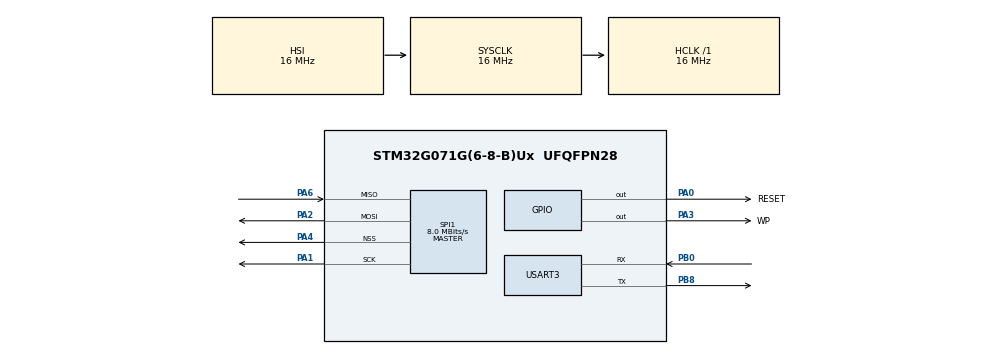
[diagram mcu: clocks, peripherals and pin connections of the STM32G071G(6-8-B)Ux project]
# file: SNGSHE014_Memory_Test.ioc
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Mcu.Family=STM32G0
Mcu.Name=STM32G071G(6-8-B)Ux
Mcu.Package=UFQFPN28
NVIC.SPI1_IRQn=true\:0\:0\:false\:false\:true\:true\:true
NVIC.USART3_4_LPUART1_IRQn=true\:0\:0\:false\:false\:true\:true\:true
PA0.GPIO_Label=RESET
PA0.Signal=GPIO_Output
PA1.Mode=Full_Duplex_Master
PA1.Signal=SPI1_SCK
PA2.Mode=Full_Duplex_Master
PA2.Signal=SPI1_MOSI
PA3.GPIO_Label=WP
PA3.Signal=GPIO_Output
PA4.Mode=NSS_Signal_Hard_Output
PA4.Signal=SPI1_NSS
PA6.Mode=Full_Duplex_Master
PA6.Signal=SPI1_MISO
PB0.Mode=Asynchronous
PB0.Signal=USART3_RX
PB8.Mode=Asynchronous
PB8.Signal=USART3_TX
ProjectManager.HeapSize=0x200
ProjectManager.StackSize=0x400
ProjectManager.TargetToolchain=STM32CubeIDE
RCC.AHBFreq_Value=16000000
RCC.CortexFreq_Value=16000000
RCC.EXTERNAL_CLOCK_VALUE=48000
RCC.HCLKFreq_Value=16000000
RCC.HSE_VALUE=8000000
RCC.HSI_VALUE=16000000
RCC.LSE_VALUE=32768
RCC.SYSCLKFreq_VALUE=16000000
RCC.VCOOutputFreq_Value=128000000
SPI1.CalculateBaudRate=8.0 MBits/s
SPI1.Direction=SPI_DIRECTION_2LINES
SPI1.Mode=SPI_MODE_MASTER
SPI1.VirtualNSS=VM_NSSHARD
SPI1.VirtualType=VM_MASTER
USART3.VirtualMode-Asynchronous=VM_ASYNC
VP_SYS_VS_DBSignals.Mode=DisableDeadBatterySignals
board=custom

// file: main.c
/* USER CODE BEGIN Header */
/**
  ******************************************************************************
  * @file           : main.c
  * @brief          : Main program body
  ******************************************************************************
  * @attention
  *
  * <h2><center>&copy; Copyright (c) 2020 STMicroelectronics.
  * All rights reserved.</center></h2>
  *
  * This software component is licensed by ST under BSD 3-Clause license,
  * the "License"; You may not use this file except in compliance with the
  * License. You may obtain a copy of the License at:
  *                        opensource.org/licenses/BSD-3-Clause
  *
  ******************************************************************************
  */
/* USER CODE END Header */
#include "main.h"

/* USER CODE BEGIN Includes */
#include "test.h"
#include <stdio.h>
#include <string.h>
/* USER CODE END Includes */

SPI_HandleTypeDef hspi1;

UART_HandleTypeDef huart3;

/* USER CODE BEGIN PV */
char uart_buf[100];
int uart_buf_len;
/* USER CODE END PV */

void SystemClock_Config(void);
static void MX_GPIO_Init(void);
static void MX_SPI1_Init(void);
static void MX_USART3_UART_Init(void);

/* USER CODE BEGIN 0 */
void UART_print(void)
{
	uart_buf_len = sizeof(uart_buf);
	HAL_UART_Transmit(&huart3, (uint8_t *)uart_buf, uart_buf_len, 10000);		//UART write
}
/* USER CODE END 0 */

int main(void)
{
  /* USER CODE BEGIN 1 */
	uint32_t defaultTest(){return dataflashTest();};

	uint32_t dataflashTest()
	{
		// dataWrite is used when sending data that will be flashed to the device.
		uint8_t dataWrite[MAXIMUM_BUFFER_SIZE] = {0};
		// dataRead is used as a buffer for received data. Read data will be stored here.
		uint8_t dataRead[MAXIMUM_BUFFER_SIZE] = {0};
		// dataTest is used as a buffer for comparisons. dataRead will be

		// Count the number of errors, this is output at the end of the testbench.
		uint32_t errorCount = 0;

		// Load up dataWrite with a pattern that will be used for testing.
		fillArrayPattern(dataWrite, 100, 0x00);

		/********************************************************************
		 *		    		1. TEST						*
		 ********************************************************************/

		//write to main memory and read function
		//uart print = success

		// Test buffer 1:
		// Part B: Test that data can be written to main memory.
		// Data will be programmed to the device through the buffer, and then read back with different
		// read commands. Each read command will be tested, and success/failure messages output to the
		// console.
		//WRITE:
		fillArrayPattern(dataWrite, 100, 0x45);
		dataflashMemoryProgramThruBuffer1WithErase(0, dataWrite, 100);
		uart_buf[100] = *txDataflashInternalBuffer;
		UART_print();
		uart_buf[100] = *dataWrite;
		UART_print();

//		dataflashWaitOnReady();

		//READ:
		dataflashArrayReadLowFreq(0, dataRead, 100);
		uart_buf[100] = *txDataflashInternalBuffer;
		UART_print();
		if(!compareByteArrays(dataRead, dataWrite, 100))
		{
			uart_buf_len = sprintf(uart_buf, "Fail.\n");
			HAL_UART_Transmit(&huart3, (uint8_t *)uart_buf, uart_buf_len, 10000);		//UART write
//			UART_print();
//			printf("Program through Buffer 1 failure.\n");
			errorCount++;
		}
		else
		{
			uart_buf_len = sprintf(uart_buf, "Success.\n");
			HAL_UART_Transmit(&huart3, (uint8_t *)uart_buf, uart_buf_len, 10000);		//UART write
//			UART_print();
//			printf("Program through Buffer 1 success.\n");
		}
		return 0;
	}

  /* USER CODE END 1 */

  /* MCU Configuration--------------------------------------------------------*/

  /* Reset of all peripherals, Initializes the Flash interface and the Systick. */
  HAL_Init();

  /* Configure the system clock */
  SystemClock_Config();

  /* Initialize all configured peripherals */
  MX_GPIO_Init();
  MX_SPI1_Init();
  MX_USART3_UART_Init();

  /* Infinite loop */
  while (1)
  {

  }
}

void SystemClock_Config(void)
{
  RCC_OscInitTypeDef RCC_OscInitStruct = {0};
  RCC_ClkInitTypeDef RCC_ClkInitStruct = {0};

  /** Configure the main internal regulator output voltage
  */
  HAL_PWREx_ControlVoltageScaling(PWR_REGULATOR_VOLTAGE_SCALE1);
  /** Initializes the RCC Oscillators according to the specified parameters
  * in the RCC_OscInitTypeDef structure.
  */
  RCC_OscInitStruct.OscillatorType = RCC_OSCILLATORTYPE_HSI;
  RCC_OscInitStruct.HSIState = RCC_HSI_ON;
  RCC_OscInitStruct.HSIDiv = RCC_HSI_DIV1;
  RCC_OscInitStruct.HSICalibrationValue = RCC_HSICALIBRATION_DEFAULT;
  RCC_OscInitStruct.PLL.PLLState = RCC_PLL_NONE;
  if (HAL_RCC_OscConfig(&RCC_OscInitStruct) != HAL_OK)
  {
    Error_Handler();
  }
  /** Initializes the CPU, AHB and APB buses clocks
  */
  RCC_ClkInitStruct.ClockType = RCC_CLOCKTYPE_HCLK|RCC_CLOCKTYPE_SYSCLK
                              |RCC_CLOCKTYPE_PCLK1;
  RCC_ClkInitStruct.SYSCLKSource = RCC_SYSCLKSOURCE_HSI;
  RCC_ClkInitStruct.AHBCLKDivider = RCC_SYSCLK_DIV1;
  RCC_ClkInitStruct.APB1CLKDivider = RCC_HCLK_DIV1;

  if (HAL_RCC_ClockConfig(&RCC_ClkInitStruct, FLASH_LATENCY_0) != HAL_OK)
  {
    Error_Handler();
  }
}

static void MX_SPI1_Init(void)
{

  /* SPI1 parameter configuration*/
  hspi1.Instance = SPI1;
  hspi1.Init.Mode = SPI_MODE_MASTER;
  hspi1.Init.Direction = SPI_DIRECTION_2LINES;
  hspi1.Init.DataSize = SPI_DATASIZE_4BIT;
  hspi1.Init.CLKPolarity = SPI_POLARITY_LOW;
  hspi1.Init.CLKPhase = SPI_PHASE_1EDGE;
  hspi1.Init.NSS = SPI_NSS_HARD_OUTPUT;
  hspi1.Init.BaudRatePrescaler = SPI_BAUDRATEPRESCALER_2;
  hspi1.Init.FirstBit = SPI_FIRSTBIT_MSB;
  hspi1.Init.TIMode = SPI_TIMODE_DISABLE;
  hspi1.Init.CRCCalculation = SPI_CRCCALCULATION_DISABLE;
  hspi1.Init.CRCPolynomial = 7;
  hspi1.Init.CRCLength = SPI_CRC_LENGTH_DATASIZE;
  hspi1.Init.NSSPMode = SPI_NSS_PULSE_ENABLE;
  if (HAL_SPI_Init(&hspi1) != HAL_OK)
  {
    Error_Handler();
  }

}

static void MX_USART3_UART_Init(void)
{

  huart3.Instance = USART3;
  huart3.Init.BaudRate = 115200;
  huart3.Init.WordLength = UART_WORDLENGTH_8B;
  huart3.Init.StopBits = UART_STOPBITS_1;
  huart3.Init.Parity = UART_PARITY_NONE;
  huart3.Init.Mode = UART_MODE_TX_RX;
  huart3.Init.HwFlowCtl = UART_HWCONTROL_NONE;
  huart3.Init.OverSampling = UART_OVERSAMPLING_16;
  huart3.Init.OneBitSampling = UART_ONE_BIT_SAMPLE_DISABLE;
  huart3.Init.ClockPrescaler = UART_PRESCALER_DIV1;
  huart3.AdvancedInit.AdvFeatureInit = UART_ADVFEATURE_NO_INIT;
  if (HAL_UART_Init(&huart3) != HAL_OK)
  {
    Error_Handler();
  }

}

static void MX_GPIO_Init(void)
{
  GPIO_InitTypeDef GPIO_InitStruct = {0};

  /* GPIO Ports Clock Enable */
  __HAL_RCC_GPIOA_CLK_ENABLE();
  __HAL_RCC_GPIOB_CLK_ENABLE();

  /*Configure GPIO pin Output Level */
  HAL_GPIO_WritePin(GPIOA, RESET_Pin|WP_Pin, GPIO_PIN_RESET);

  /*Configure GPIO pins : RESET_Pin WP_Pin */
  GPIO_InitStruct.Pin = RESET_Pin|WP_Pin;
  GPIO_InitStruct.Mode = GPIO_MODE_OUTPUT_PP;
  GPIO_InitStruct.Pull = GPIO_NOPULL;
  GPIO_InitStruct.Speed = GPIO_SPEED_FREQ_LOW;
  HAL_GPIO_Init(GPIOA, &GPIO_InitStruct);

}

void Error_Handler(void)
{
}

/************************ (C) COPYRIGHT STMicroelectronics *****END OF FILE****/
